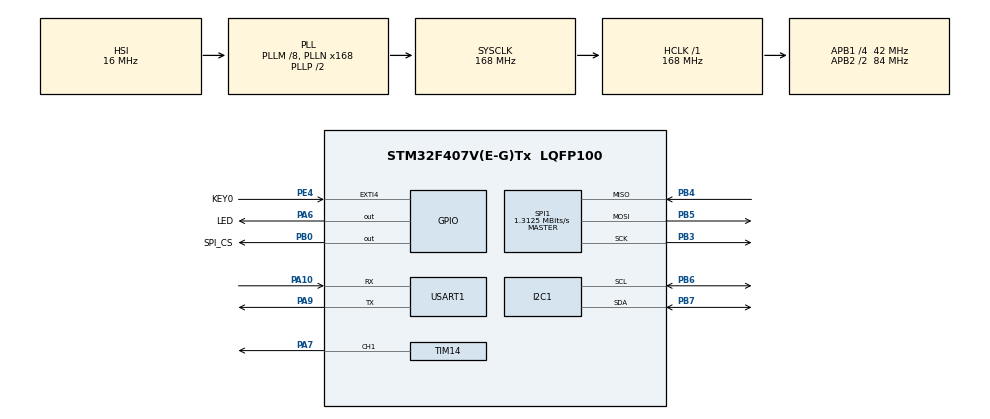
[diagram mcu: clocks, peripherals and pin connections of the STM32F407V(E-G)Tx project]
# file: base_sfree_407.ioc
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ADC1.Channel-1\#ChannelRegularConversion=ADC_CHANNEL_TEMPSENSOR
ADC1.ContinuousConvMode=DISABLE
ADC1.DMAContinuousRequests=DISABLE
ADC1.DiscontinuousConvMode=DISABLE
ADC1.NbrOfConversionFlag=1
ADC1.Rank-1\#ChannelRegularConversion=1
ADC1.SamplingTime-1\#ChannelRegularConversion=ADC_SAMPLETIME_3CYCLES
ADC1.ScanConvMode=DISABLE
ADC1.master=1
Dma.Request0=USART1_RX
Dma.Request1=USART1_TX
Dma.USART1_RX.0.Direction=DMA_PERIPH_TO_MEMORY
Dma.USART1_RX.0.FIFOMode=DMA_FIFOMODE_DISABLE
Dma.USART1_RX.0.Instance=DMA2_Stream2
Dma.USART1_RX.0.MemDataAlignment=DMA_MDATAALIGN_BYTE
Dma.USART1_RX.0.MemInc=DMA_MINC_ENABLE
Dma.USART1_RX.0.Mode=DMA_NORMAL
Dma.USART1_RX.0.PeriphDataAlignment=DMA_PDATAALIGN_BYTE
Dma.USART1_RX.0.PeriphInc=DMA_PINC_DISABLE
Dma.USART1_RX.0.Priority=DMA_PRIORITY_LOW
Dma.USART1_TX.1.Direction=DMA_MEMORY_TO_PERIPH
Dma.USART1_TX.1.FIFOMode=DMA_FIFOMODE_DISABLE
Dma.USART1_TX.1.Instance=DMA2_Stream7
Dma.USART1_TX.1.MemDataAlignment=DMA_MDATAALIGN_BYTE
Dma.USART1_TX.1.MemInc=DMA_MINC_ENABLE
Dma.USART1_TX.1.Mode=DMA_NORMAL
Dma.USART1_TX.1.PeriphDataAlignment=DMA_PDATAALIGN_BYTE
Dma.USART1_TX.1.PeriphInc=DMA_PINC_DISABLE
Dma.USART1_TX.1.Priority=DMA_PRIORITY_LOW
FREERTOS.INCLUDE_vTaskCleanUpResources=1
FREERTOS.Tasks01=defaultTask,24,128,StartDefaultTask,Default,NULL,Dynamic,NULL,NULL;admin_task,48,128,Admin_Task,Default,NULL,Static,admin_taskBuffer,admin_taskControlBlock;oled_task,16,512,OLED_Task,Default,NULL,Dynamic,NULL,NULL;io_task,40,128,IO_Task,Default,NULL,Static,io_taskBuffer,io_taskControlBlock
FREERTOS.configCHECK_FOR_STACK_OVERFLOW=1
FREERTOS.configENABLE_FPU=1
FREERTOS.configUSE_IDLE_HOOK=1
FREERTOS.configUSE_STATS_FORMATTING_FUNCTIONS=1
FREERTOS.configUSE_TICK_HOOK=1
I2C1.I2C_Mode=I2C_Fast
Mcu.Family=STM32F4
Mcu.Name=STM32F407V(E-G)Tx
Mcu.Package=LQFP100
NVIC.DMA2_Stream2_IRQn=true\:8\:0\:true\:false\:true\:true\:true\:true\:true
NVIC.DMA2_Stream7_IRQn=true\:8\:0\:true\:false\:true\:true\:true\:true\:true
NVIC.EXTI4_IRQn=true\:14\:0\:true\:false\:true\:true\:true\:true\:true
NVIC.PriorityGroup=NVIC_PRIORITYGROUP_4
NVIC.TIM6_DAC_IRQn=true\:15\:0\:false\:false\:true\:false\:false\:true\:true
NVIC.TimeBase=TIM6_DAC_IRQn
NVIC.TimeBaseIP=TIM6
NVIC.USART1_IRQn=true\:8\:0\:true\:false\:true\:true\:true\:true\:true
PA10.Mode=Asynchronous
PA10.Signal=USART1_RX
PA13.Mode=Serial_Wire
PA13.Signal=SYS_JTMS-SWDIO
PA14.Mode=Serial_Wire
PA14.Signal=SYS_JTCK-SWCLK
PA6.GPIO_Label=LED
PA6.GPIO_PuPd=GPIO_PULLUP
PA6.Signal=GPIO_Output
PA7.GPIO_PuPd=GPIO_PULLUP
PA7.GPIO_Speed=GPIO_SPEED_FREQ_VERY_HIGH
PA7.Signal=S_TIM14_CH1
PA9.Mode=Asynchronous
PA9.Signal=USART1_TX
PB0.GPIO_Label=SPI_CS
PB0.GPIO_ModeDefaultOutputPP=GPIO_MODE_OUTPUT_PP
PB0.GPIO_PuPd=GPIO_PULLUP
PB0.PinState=GPIO_PIN_SET
PB0.Signal=GPIO_Output
PB13.Signal=SPI2_SCK
PB14.Signal=SPI2_MISO
PB15.Signal=SPI2_MOSI
PB3.Mode=Full_Duplex_Master
PB3.Signal=SPI1_SCK
PB4.Mode=Full_Duplex_Master
PB4.Signal=SPI1_MISO
PB5.Mode=Full_Duplex_Master
PB5.Signal=SPI1_MOSI
PB6.GPIO_Pu=GPIO_NOPULL
PB6.Mode=I2C
PB6.Signal=I2C1_SCL
PB7.GPIO_Pu=GPIO_NOPULL
PB7.Mode=I2C
PB7.Signal=I2C1_SDA
PE4.GPIO_Label=KEY0
PE4.GPIO_ModeDefaultEXTI=GPIO_MODE_IT_FALLING
PE4.GPIO_PuPd=GPIO_PULLUP
PE4.Signal=GPXTI4
PH0-OSC_IN.Mode=HSE-External-Oscillator
PH0-OSC_IN.Signal=RCC_OSC_IN
PH1-OSC_OUT.Mode=HSE-External-Oscillator
PH1-OSC_OUT.Signal=RCC_OSC_OUT
ProjectManager.HeapSize=0x200
ProjectManager.StackSize=0x400
ProjectManager.TargetToolchain=MDK-ARM V5.32
RCC.48MHZClocksFreq_Value=48000000
RCC.AHBFreq_Value=168000000
RCC.APB1CLKDivider=RCC_HCLK_DIV4
RCC.APB1Freq_Value=42000000
RCC.APB1TimFreq_Value=84000000
RCC.APB2CLKDivider=RCC_HCLK_DIV2
RCC.APB2Freq_Value=84000000
RCC.APB2TimFreq_Value=168000000
RCC.CortexFreq_Value=168000000
RCC.HCLKFreq_Value=168000000
RCC.HSE_VALUE=8000000
RCC.HSICalibrationValue=8
RCC.HSI_VALUE=16000000
RCC.LSE_VALUE=32768
RCC.PLLM=8
RCC.PLLN=168
RCC.PLLQ=7
RCC.SYSCLKFreq_VALUE=168000000
RCC.SYSCLKSource=RCC_SYSCLKSOURCE_PLLCLK
RCC.VCOOutputFreq_Value=336000000
SH.S_TIM14_CH1.0=TIM14_CH1,PWM Generation1 CH1
SPI1.BaudRatePrescaler=SPI_BAUDRATEPRESCALER_64
SPI1.CLKPhase=SPI_PHASE_2EDGE
SPI1.CLKPolarity=SPI_POLARITY_HIGH
SPI1.CalculateBaudRate=1.3125 MBits/s
SPI1.Direction=SPI_DIRECTION_2LINES
SPI1.Mode=SPI_MODE_MASTER
SPI1.VirtualType=VM_MASTER
TIM14.Channel=TIM_CHANNEL_1
TIM14.OCPolarity_1=TIM_OCPOLARITY_LOW
TIM14.Period=1000
TIM14.Prescaler=84-1
USART1.VirtualMode=VM_ASYNC
VP_ADC1_TempSens_Input.Mode=IN-TempSens
VP_FREERTOS_VS_CMSIS_V2.Mode=CMSIS_V2
VP_RNG_VS_RNG.Mode=RNG_Activate
VP_SYS_VS_tim6.Mode=TIM6
VP_TIM14_VS_ClockSourceINT.Mode=Enable_Timer
board=custom

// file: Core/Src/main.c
/* USER CODE BEGIN Header */
/**
	******************************************************************************
	* @file			: main.c
	* @brief			: Main program body
	******************************************************************************
	* @attention
	*
	* Copyright (c) 2023 STMicroelectronics.
	* All rights reserved.
	*
	* This software is licensed under terms that can be found in the LICENSE file
	* in the root directory of this software component.
	* If no LICENSE file comes with this software, it is provided AS-IS.
	*
	******************************************************************************
	*/
/* USER CODE END Header */
#include "main.h"
#include "cmsis_os.h"
#include "adc.h"
#include "dma.h"
#include "i2c.h"
#include "rng.h"
#include "spi.h"
#include "tim.h"
#include "usart.h"
#include "gpio.h"

void SystemClock_Config(void);
void MX_FREERTOS_Init(void);

int main(void)
{

  /* MCU Configuration--------------------------------------------------------*/

  /* Reset of all peripherals, Initializes the Flash interface and the Systick. */
  HAL_Init();

  /* Configure the system clock */
  SystemClock_Config();

  /* Initialize all configured peripherals */
  MX_GPIO_Init();
  MX_DMA_Init();
  MX_USART1_UART_Init();
  MX_TIM14_Init();
  MX_I2C1_Init();
  MX_ADC1_Init();
  MX_RNG_Init();
  MX_SPI1_Init();

  /* Init scheduler */
  osKernelInitialize();

  /* Call init function for freertos objects (in cmsis_os2.c) */
  MX_FREERTOS_Init();

  /* Start scheduler */
  osKernelStart();

  /* We should never get here as control is now taken by the scheduler */

  /* Infinite loop */
	while(1)
	{

	}
}

void SystemClock_Config(void)
{
  RCC_OscInitTypeDef RCC_OscInitStruct = {0};
  RCC_ClkInitTypeDef RCC_ClkInitStruct = {0};

  /** Configure the main internal regulator output voltage
  */
  __HAL_RCC_PWR_CLK_ENABLE();
  __HAL_PWR_VOLTAGESCALING_CONFIG(PWR_REGULATOR_VOLTAGE_SCALE1);

  /** Initializes the RCC Oscillators according to the specified parameters
  * in the RCC_OscInitTypeDef structure.
  */
  RCC_OscInitStruct.OscillatorType = RCC_OSCILLATORTYPE_HSI;
  RCC_OscInitStruct.HSIState = RCC_HSI_ON;
  RCC_OscInitStruct.HSICalibrationValue = 8;
  RCC_OscInitStruct.PLL.PLLState = RCC_PLL_ON;
  RCC_OscInitStruct.PLL.PLLSource = RCC_PLLSOURCE_HSI;
  RCC_OscInitStruct.PLL.PLLM = 8;
  RCC_OscInitStruct.PLL.PLLN = 168;
  RCC_OscInitStruct.PLL.PLLP = RCC_PLLP_DIV2;
  RCC_OscInitStruct.PLL.PLLQ = 7;
  if (HAL_RCC_OscConfig(&RCC_OscInitStruct) != HAL_OK)
  {
    Error_Handler();
  }

  /** Initializes the CPU, AHB and APB buses clocks
  */
  RCC_ClkInitStruct.ClockType = RCC_CLOCKTYPE_HCLK|RCC_CLOCKTYPE_SYSCLK
                              |RCC_CLOCKTYPE_PCLK1|RCC_CLOCKTYPE_PCLK2;
  RCC_ClkInitStruct.SYSCLKSource = RCC_SYSCLKSOURCE_PLLCLK;
  RCC_ClkInitStruct.AHBCLKDivider = RCC_SYSCLK_DIV1;
  RCC_ClkInitStruct.APB1CLKDivider = RCC_HCLK_DIV4;
  RCC_ClkInitStruct.APB2CLKDivider = RCC_HCLK_DIV2;

  if (HAL_RCC_ClockConfig(&RCC_ClkInitStruct, FLASH_LATENCY_5) != HAL_OK)
  {
    Error_Handler();
  }
}

void HAL_TIM_PeriodElapsedCallback(TIM_HandleTypeDef *htim)
{
  if (htim->Instance == TIM6) {
    HAL_IncTick();
  }
}

void Error_Handler(void)
{
	__disable_irq();
	while(1)
	{
	}
}

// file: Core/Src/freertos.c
/* USER CODE BEGIN Header */
/**
  ******************************************************************************
  * File Name          : freertos.c
  * Description        : Code for freertos applications
  ******************************************************************************
  * @attention
  *
  * Copyright (c) 2023 STMicroelectronics.
  * All rights reserved.
  *
  * This software is licensed under terms that can be found in the LICENSE file
  * in the root directory of this software component.
  * If no LICENSE file comes with this software, it is provided AS-IS.
  *
  ******************************************************************************
  */
/* USER CODE END Header */

#include "FreeRTOS.h"
#include "task.h"
#include "main.h"
#include "cmsis_os.h"

/* USER CODE BEGIN Includes */
#include "serial.h"
#include "adc.h"
#include "debug.h"
#include "clock.h"
#include "io_ctrl.h"
#include "spi_flash.h"
#include "FreeRTOS_CLI.h"

#include "oled.h"
#include "bmp.h"

/* USER CODE END Includes */

typedef StaticTask_t osStaticThreadDef_t;

/* USER CODE BEGIN Variables */
ClockCntStruct SysClockCnt;
ClockFlagStruct SysClockFlag;

/* USER CODE END Variables */
/* Definitions for defaultTask */
osThreadId_t defaultTaskHandle;
const osThreadAttr_t defaultTask_attributes = {
  .name = "defaultTask",
  .stack_size = 128 * 4,
  .priority = (osPriority_t) osPriorityNormal,
};
/* Definitions for admin_task */
osThreadId_t admin_taskHandle;
uint32_t admin_taskBuffer[ 128 ];
osStaticThreadDef_t admin_taskControlBlock;
const osThreadAttr_t admin_task_attributes = {
  .name = "admin_task",
  .cb_mem = &admin_taskControlBlock,
  .cb_size = sizeof(admin_taskControlBlock),
  .stack_mem = &admin_taskBuffer[0],
  .stack_size = sizeof(admin_taskBuffer),
  .priority = (osPriority_t) osPriorityRealtime,
};
/* Definitions for oled_task */
osThreadId_t oled_taskHandle;
const osThreadAttr_t oled_task_attributes = {
  .name = "oled_task",
  .stack_size = 512 * 4,
  .priority = (osPriority_t) osPriorityBelowNormal,
};
/* Definitions for io_task */
osThreadId_t io_taskHandle;
uint32_t io_taskBuffer[ 128 ];
osStaticThreadDef_t io_taskControlBlock;
const osThreadAttr_t io_task_attributes = {
  .name = "io_task",
  .cb_mem = &io_taskControlBlock,
  .cb_size = sizeof(io_taskControlBlock),
  .stack_mem = &io_taskBuffer[0],
  .stack_size = sizeof(io_taskBuffer),
  .priority = (osPriority_t) osPriorityHigh,
};

void StartDefaultTask(void *argument);
void Admin_Task(void *argument);
void OLED_Task(void *argument);
void IO_Task(void *argument);

void MX_FREERTOS_Init(void); /* (MISRA C 2004 rule 8.1) */

/* Hook prototypes */
void vApplicationIdleHook(void);
void vApplicationTickHook(void);
void vApplicationStackOverflowHook(xTaskHandle xTask, signed char *pcTaskName);

/* USER CODE BEGIN 2 */
void vApplicationIdleHook( void )
{
   /* vApplicationIdleHook() will only be called if configUSE_IDLE_HOOK is set
   to 1 in FreeRTOSConfig.h. It will be called on each iteration of the idle
   task. It is essential that code added to this hook function never attempts
   to block in any way (for example, call xQueueReceive() with a block time
   specified, or call vTaskDelay()). If the application makes use of the
   vTaskDelete() API function (as this demo application does) then it is also
   important that vApplicationIdleHook() is permitted to return to its calling
   function, because it is the responsibility of the idle task to clean up
   memory allocated by the kernel to any task that has since been deleted. */
}
/* USER CODE END 2 */

/* USER CODE BEGIN 3 */
void vApplicationTickHook( void )
{
   /* This function will be called by each tick interrupt if
   configUSE_TICK_HOOK is set to 1 in FreeRTOSConfig.h. User code can be
   added here, but the tick hook is called from an interrupt context, so
   code must not attempt to block, and only the interrupt safe FreeRTOS API
   functions can be used (those that end in FromISR()). */
   sys_clock_handle(&SysClockCnt,&SysClockFlag);
}
/* USER CODE END 3 */

/* USER CODE BEGIN 4 */
void vApplicationStackOverflowHook(xTaskHandle xTask, signed char *pcTaskName)
{
   /* Run time stack overflow checking is performed if
   configCHECK_FOR_STACK_OVERFLOW is defined to 1 or 2. This hook function is
   called if a stack overflow is detected. */
   HAL_GPIO_WritePin(LED_GPIO_Port, LED_Pin, LED_SET);
	 sprintf((char *) pcWriteBuffer, "[栈溢出]\t任务:%s\r\n", pcTaskName);
	 HAL_UART_Transmit_DMA(&huart1, pcWriteBuffer, strlen((char *) pcWriteBuffer));
}
/* USER CODE END 4 */

void MX_FREERTOS_Init(void) {
  /* USER CODE BEGIN Init */
	GPIO_OLED_InitConfig();
	PWM_Init();
	vRegisterSampleCLICommands();
	vUARTCommandConsoleStart( 1024, 1 );

  /* USER CODE END Init */

  /* Create the thread(s) */
  /* creation of defaultTask */
  defaultTaskHandle = osThreadNew(StartDefaultTask, NULL, &defaultTask_attributes);

  /* creation of admin_task */
  admin_taskHandle = osThreadNew(Admin_Task, NULL, &admin_task_attributes);

  /* creation of oled_task */
  oled_taskHandle = osThreadNew(OLED_Task, NULL, &oled_task_attributes);

  /* creation of io_task */
  io_taskHandle = osThreadNew(IO_Task, NULL, &io_task_attributes);

}

void StartDefaultTask(void *argument)
{
  /* USER CODE BEGIN StartDefaultTask */
	if(W25QXX_Init()==0)
		ULOG("FLASH INIT %X\t%d\r\n",flash_msg.type,flash_msg.size);
  /* Infinite loop */
  for(;;)
  {
		if(SysClockFlag.bit.b500ms)
		{
			if(0x00 == sys_msg.led_status)
				sys_gpio.write.bit.bLed = !sys_gpio.write.bit.bLed;

			if(0x01 == sys_msg.led_status)
				sys_gpio.write.bit.bLed = 1;

			if(0x02 == sys_msg.led_status)
				sys_gpio.write.bit.bLed = 0;
		}
    osDelay(1);
  }
  /* USER CODE END StartDefaultTask */
}

void Admin_Task(void *argument)
{
  /* USER CODE BEGIN Admin_Task */
  /* Infinite loop */
  for(;;)
  {
		//Debug_usart1();
		//xSerialTransmit_Ser();

    osDelay(1);
  }
  /* USER CODE END Admin_Task */
}

void OLED_Task(void *argument)
{
  /* USER CODE BEGIN OLED_Task */
	uint8_t Bufferr[15];
	int Num=1208;
	float Data=3.14;

	OLED_Clear();

  /* Infinite loop */
  for(;;)
  {
		OLED_Clear();
		OLED_ShowNum(0, 2, Num, 8, 16);
		sprintf((char *)Bufferr, "%0.2f", Data);
		OLED_ShowString(0,0, Bufferr);
		OLED_ShowNum(0, 0, Data, 8, 16);
		osDelay(600);

		OLED_Clear();
		OLED_ShowCHinese(0, 2, 0);
		OLED_ShowCHinese(14, 2, 1);
		OLED_ShowCHinese(28, 2, 2);
		OLED_ShowCHinese(42, 2, 3);
		osDelay(600);

		OLED_Clear();
		OLED_DrawBMP(0,0,126,8,BMP);
		osDelay(500);
    osDelay(1);
  }
  /* USER CODE END OLED_Task */
}

void IO_Task(void *argument)
{
  /* USER CODE BEGIN IO_Task */

  /* Infinite loop */
  for(;;)
  {
		GPIO_Ctrl_Ser();
		if(SysClockFlag.bit.b10ms)
			sys_msg.temp = adc_tem();
    osDelay(1);
  }
  /* USER CODE END IO_Task */
}
